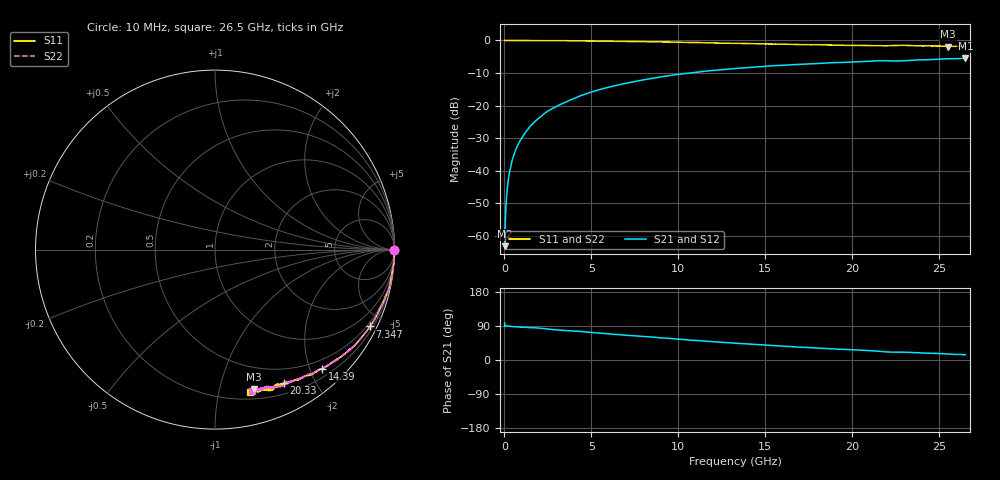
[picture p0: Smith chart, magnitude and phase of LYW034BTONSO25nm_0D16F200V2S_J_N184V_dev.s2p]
!Keysight Technologies,N5222B,MY61253708,A.15.00.15
!Date: Wednesday, June 19, 2024 10:33:27
!Correction: S11(C  2-Port  )
!S21(C  2-Port  )
!S12(C  2-Port  )
!S22(C  2-Port  )
!S2P File: Measurements: S11, S21, S12, S22:
# Hz S  RI  R 50
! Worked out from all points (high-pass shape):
!   2651 points, 10 MHz to 26.5 GHz, reference 50 ohm
!   highest |S21| = -5.46 dB at 26.5 GHz (marker M1); lowest = -63.2 dB at 20 MHz (marker M2)
!   |S21| within 3 dB of the highest: 13.63617 GHz to 13.66556 GHz (29.4 MHz wide, 0.215 % of centre); 13.69 GHz to end of sweep
!   lowest |S11| = -1.9 dB at 25.5 GHz (marker M3), VSWR 9.36, Z = 14.3 - j63.7 ohm
!   |S11| at or under -10 dB: nowhere
!   |S22| runs from -1.8 to 0.0 dB; largest |S21 - S12| = 0.0071
!   S11 on the Smith chart (normalised r, x): 10 MHz: open; 7.347 GHz: 0.35, -4.24; 14.39 GHz: 0.34, -2.20; 20.33 GHz: 0.32, -1.59; 26.5 GHz: 0.26, -1.24
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1e7  0.9985 -0.00304  -0.000108 0.0008  -6.42e-05 0.00047  0.9983 -0.00175
1.999623e7  1 -0.00233  -1.56e-05 0.00069  -3.11e-05 0.000469  0.9998 -0.0023
8.996981e7  1 -0.00566  6.25e-07 0.00291  1.33e-05 0.00291  0.9996 -0.00544
1.699396e8  0.9999 -0.0114  8e-05 0.00551  5.72e-05 0.00551  0.9997 -0.0109
2.199208e8  0.9999 -0.0147  0.000104 0.00712  8.71e-05 0.00712  0.9994 -0.0139
2.898943e8  0.9999 -0.0194  0.000163 0.00937  0.000194 0.00938  0.9998 -0.0187
3.998528e8  0.9994 -0.0269  0.000351 0.0129  0.00033 0.0129  0.9994 -0.0257
5.398e8  0.9988 -0.0349  0.000577 0.0174  0.000558 0.0175  0.9988 -0.0345
8.996642e8  0.9975 -0.0587  0.0016 0.0287  0.00162 0.0288  0.9972 -0.0575
1.499438e9  0.9908 -0.0982  0.00392 0.0483  0.00393 0.0483  0.9936 -0.0956
2.369109e9  0.9827 -0.1514  0.00997 0.0774  0.0101 0.0775  0.9839 -0.1515
4.428332e9  0.9451 -0.2754  0.0367 0.1385  0.0368 0.1388  0.9469 -0.2729
5.767826e9  0.9109 -0.3464  0.0635 0.1733  0.0641 0.1737  0.913 -0.3463
7.34723e9  0.8635 -0.4284  0.0998 0.207  0.1007 0.2071  0.8646 -0.4275
8.846664e9  0.8108 -0.4957  0.1397 0.2332  0.1405 0.2332  0.8121 -0.4944
1.3255e10  0.6394 -0.6376  0.2642 0.2595  0.2657 0.2588  0.6425 -0.6369
1.439457e10  0.5963 -0.6637  0.2931 0.2566  0.2948 0.2562  0.5992 -0.6607
1.767333e10  0.4699 -0.7206  0.3698 0.2346  0.3723 0.2328  0.4791 -0.7182
2.033233e10  0.3819 -0.7451  0.4229 0.208  0.4237 0.2047  0.3943 -0.7451
2.209166e10  0.3351 -0.7572  0.4536 0.1749  0.4545 0.1722  0.3275 -0.7631
2.550038e10  0.2151 -0.7778  0.5038 0.1397  0.5044 0.1397  0.2347 -0.7796
2.65e10  0.1957 -0.7926  0.5174 0.1289  0.516 0.1253  0.2082 -0.7903
